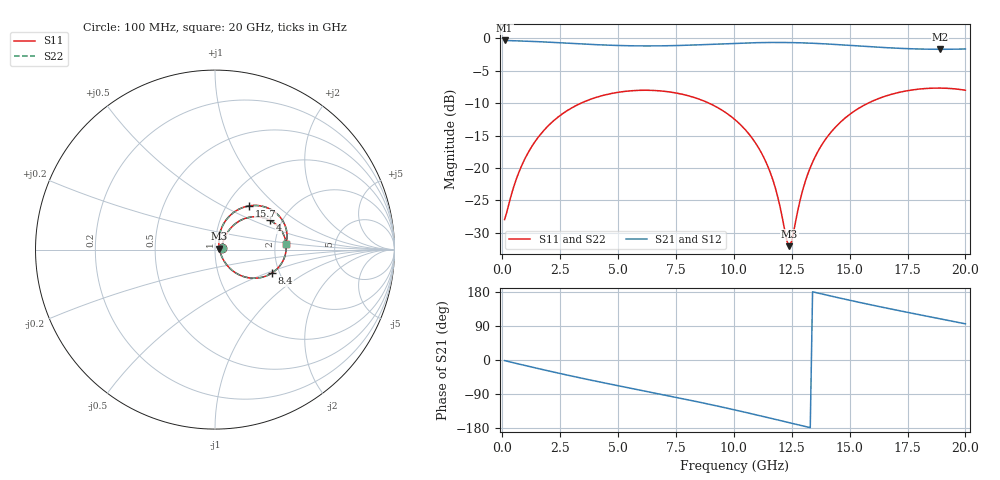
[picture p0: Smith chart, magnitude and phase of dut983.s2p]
! Touchstone file exported from HFSS 2026.1.0
!  File:  C:/ffzhzh/LocalFiles/Ansys_Project_Files/temp_train_TSV_RDL_983_1783287199_30076.aedt
!  Generated:  05:43:08 AM Jul  6, 2026
!  Design:  TSV_RDL
!  Project:  temp_train_TSV_RDL_983_1783287199_30076
! Variables:
!  h_bsmrdl = 4.57um
!  h_ox = 20um
!  h_rdl = 5um
!  h_sub = 68.49um
!  h_tmrdl = 3.29um
!  h_tsv = 68.49um
!  h_via = 3um
!  l_bsmrdl = 200.04um
!  l_sub = 4294.8um
!  l_tmrdl = 798.38um
!  m_sub = 200um
!  pitch = 25.61um
!  r_tsv = 3.16um
!  s_tmrdl = 10um
!  w_bsmrdl = 22.83um
!  w_sub = 500um
!  w_tmrdl = 10.89um
!  x_tsv_center1 = 803.825um
!  x_tsv_center2 = 1026.695um
!  x_tsv_center3 = 1835.965um
!  x_tsv_center4 = 2058.835um
!  x_tsv_center5 = 2868.105um
!  x_tsv_center6 = 3090.975um
# GHz S MA R 50.000000
! Terminal data exported
! Port[1] = TM_RDL1_1_T1
! Port[2] = TM_RDL5_1_T1
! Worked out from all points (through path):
!   200 points, 100 MHz to 20 GHz, reference 50 ohm
!   highest |S21| = -0.34 dB at 100 MHz (marker M1); lowest = -1.7 dB at 18.9 GHz (marker M2)
!   group delay of S21, straight-line fit = 36.9 ps
!   lowest |S11| = -32.1 dB at 12.4 GHz (marker M3), VSWR 1.05, Z = 52.5 + j0.514 ohm
!   |S11| at or under -10 dB: start of sweep to 3.406 GHz; 8.92 GHz to 15.8 GHz (6.883 GHz wide, 55.7 % of centre)
!   |S22| runs from -32.0 to -7.7 dB; largest |S21 - S12| = 1.7e-14
!   S11 on the Smith chart (normalised r, x): 100 MHz: 1.08, +0.03; 4 GHz: 1.74, +0.64; 8.4 GHz: 1.83, -0.54; 15.7 GHz: 1.27, +0.68; 20 GHz: 2.30, +0.18
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0.1  0.04 16.9  0.962 -1.6  0.962 -1.6  0.04 16.9
! Gamma 0 0 0 0
! Port Impedance 50 0 50 0
0.7  0.09105 51.7  0.9542 -10.4  0.9542 -10.4  0.09105 51.7
1.4  0.1583 53.4  0.9442 -20.4  0.9442 -20.4  0.1583 53.4
2.3  0.2381 46.4  0.9273 -33.0  0.9273 -33.0  0.2381 46.4
3.5  0.3217 33.6  0.9028 -49.0  0.9028 -49.0  0.3217 33.6
4  0.3476 27.9  0.8936 -55.4  0.8936 -55.4  0.3476 27.9
6.8  0.3932 -3.7  0.8739 -89.8  0.8739 -89.8  0.3932 -3.7
8.4  0.3442 -22.1  0.8891 -109.8  0.8891 -109.8  0.3442 -22.1
10.1  0.2315 -41.8  0.9146 -132.5  0.9146 -132.5  0.2315 -41.8
10.9  0.1592 -49.7  0.924 -143.8  0.924 -143.8  0.1592 -49.7
11.5  0.0996 -52.5  0.9278 -152.4  0.9278 -152.4  0.09962 -52.5
11.8  0.06928 -50.1  0.9284 -156.8  0.9284 -156.8  0.06932 -50.0
12.3  0.02706 -11.1  0.9273 -164.1  0.9273 -164.1  0.02719 -10.9
12.4  0.02493 11.3  0.9267 -165.5  0.9267 -165.5  0.02507 11.3
12.5  0.02736 33.4  0.9261 -167.0  0.9261 -167.0  0.02749 33.3
13  0.07007 71.3  0.9211 -174.2  0.9211 -174.2  0.07013 71.1
13.4  0.1107 73.6  0.9154 180.0  0.9154 180.0  0.1107 73.5
14.4  0.2075 66.2  0.8957 165.9  0.8957 165.9  0.2075 66.2
15.7  0.3096 51.9  0.8652 148.4  0.8652 148.4  0.3096 51.9
16.7  0.3651 40.7  0.8442 135.6  0.8442 135.6  0.3651 40.6
18.9  0.4129 16.6  0.8223 108.8  0.8223 108.8  0.4129 16.5
20  0.3976 4.6  0.8273 95.4  0.8273 95.4  0.3976 4.6
